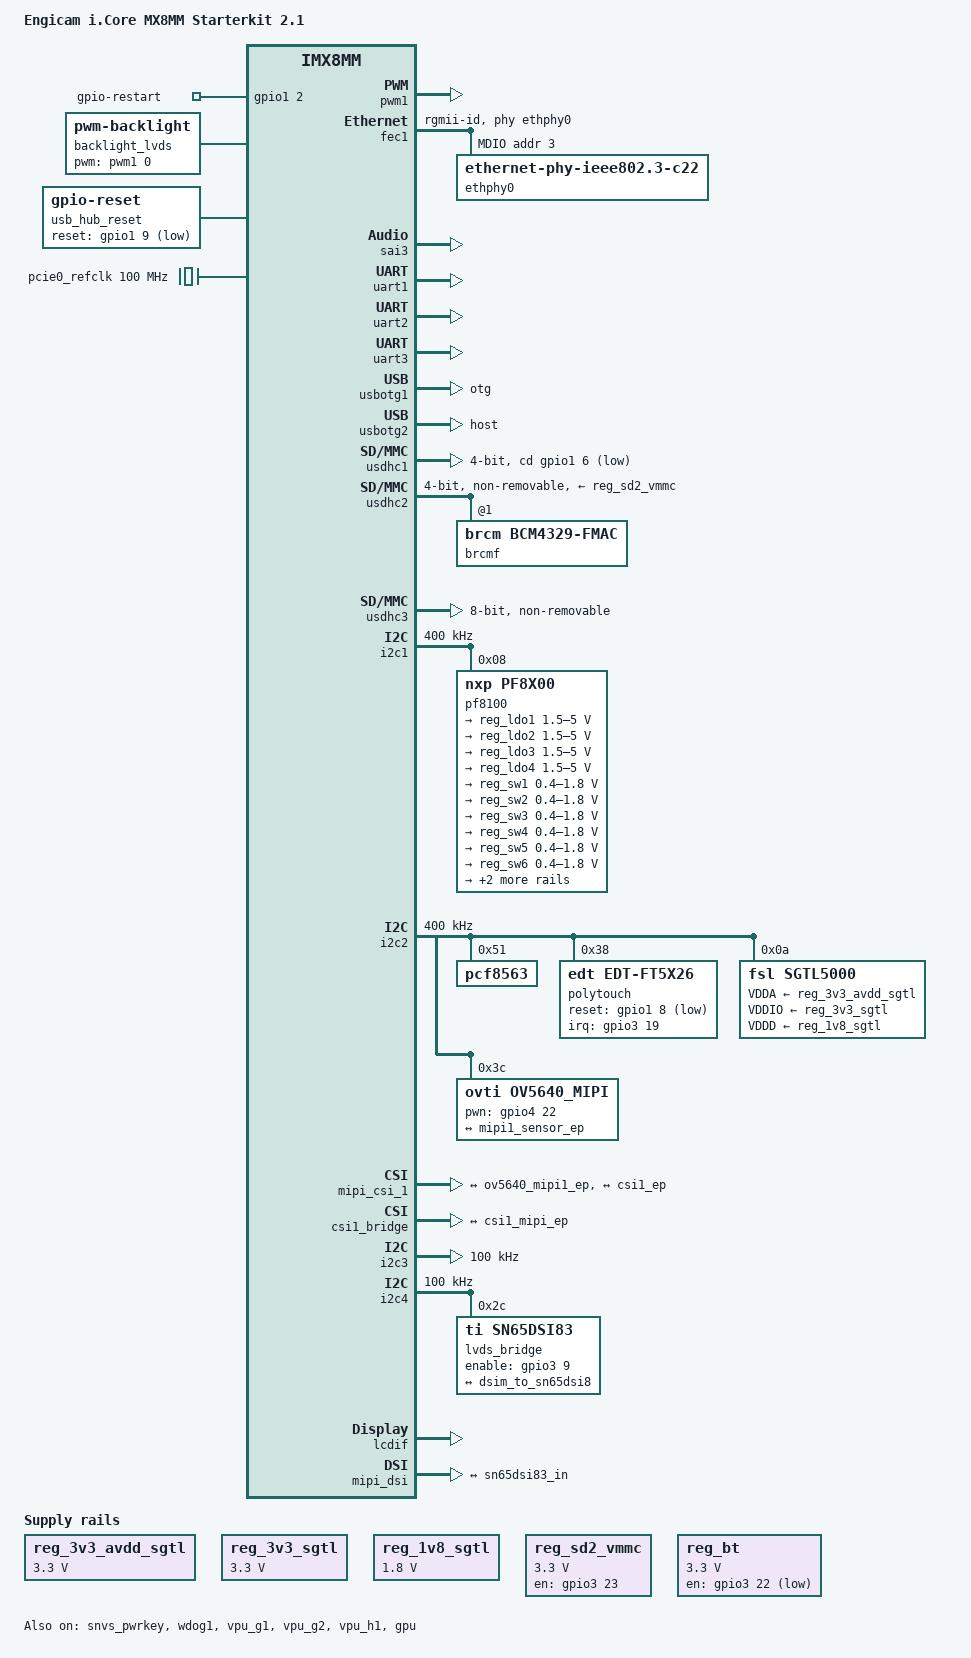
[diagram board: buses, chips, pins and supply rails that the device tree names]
// SPDX-License-Identifier: (GPL-2.0+ OR MIT)
/*
 * Copyright 2019 NXP
 */

/dts-v1/;

#include <dt-bindings/usb/pd.h>
#include "../freescale/imx8mm.dtsi"

/ {
	model = "Engicam i.Core MX8MM Starterkit 2.1";
	compatible = "engi,icore-imx8mm", "fsl,imx8mm-evk", "fsl,imx8mm";

	reserved-memory {
		#address-cells = <2>;
		#size-cells = <2>;
		ranges;

		rpmsg_reserved: rpmsg@0xb8000000 {
			no-map;
			reg = <0 0xb8000000 0 0x400000>;
		};
	};

	chosen {
		stdout-path = &uart2;
	};

	gpio-restart {
		compatible = "gpio-restart";
		gpios = <&gpio1 2 0>;
		priority = <128>;
		active-delay = <100>;
		inactive-delay = <100>;
		wait-delay = <3000>;
	};

	backlight_lvds: backlight_lvds {
		compatible = "pwm-backlight";
		pinctrl-names = "default";
		pinctrl-0 = <&pinctrl_pwm1>;
		pwms = <&pwm1 0 1000000>;
		brightness-levels = <0 4 8 16 32 64 128 255>;
		default-brightness-level = <7>;
		status = "okay";
	};

	usb_hub_reset: usb-hub-reset {
		compatible = "gpio-reset";
		reset-gpios = <&gpio1 9 GPIO_ACTIVE_LOW>;
		reset-delay-us = <2000>;
		reset-post-delay-ms = <40>;
		#reset-cells = <0>;
	};
	
	pcie0_refclk: pcie0-refclk {
		compatible = "fixed-clock";
		#clock-cells = <0>;
		clock-frequency = <100000000>;
	};	
	
	regulators {
		compatible = "simple-bus";
		#address-cells = <1>;
		#size-cells = <0>;

		reg_3v3_avdd_sgtl: reg_3v3_avdd_regulator {
			compatible = "regulator-fixed";
			regulator-name = "3v3_avdd_sgtl";
			regulator-min-microvolt = <3300000>;
			regulator-max-microvolt = <3300000>;
			always-on;
		};

		reg_3v3_sgtl: reg_3v3_sgtl_regulator {
			compatible = "regulator-fixed";
			regulator-name = "3v3_sgtl";
			regulator-min-microvolt = <3300000>;
			regulator-max-microvolt = <3300000>;
			always-on;
		};

		reg_1v8_sgtl: reg_1v8_sgtl_regulator {
			compatible = "regulator-fixed";
			regulator-name = "1v8_sgtl";
			regulator-min-microvolt = <1800000>;
			regulator-max-microvolt = <1800000>;
			always-on;
		};

		reg_sd2_vmmc: sd2_regulator {
			compatible = "regulator-fixed";
			regulator-name = "WLAN_EN";
			regulator-min-microvolt = <3300000>;
			regulator-max-microvolt = <3300000>;
			gpio = <&gpio3 23 1>;
			startup-delay-us = <100>;
			enable-active-high;
		};
		
		reg_bt: bt_regulator {
			compatible = "regulator-fixed";
			regulator-name = "BT_EN";
			regulator-min-microvolt = <3300000>;
			regulator-max-microvolt = <3300000>;
			gpio = <&gpio3 22 1>;
			always-on;
		};
	};

	sound {
		compatible = "simple-audio-card";
		simple-audio-card,name = "imx8mm-sgtl5000";
		simple-audio-card,format = "i2s";
		simple-audio-card,bitclock-master = <&dailink_master>;
		simple-audio-card,frame-master = <&dailink_master>;
		/*simple-audio-card,mclk-fs = <1>;*/
		simple-audio-card,cpu {
			sound-dai = <&sai3>;
		}; 

		dailink_master: simple-audio-card,codec {
			sound-dai = <&sgtl5000>;
			clocks = <&clk IMX8MM_CLK_SAI3>;
		};
	};
};

&pwm1{
    status = "okay";
};

&A53_0 {
	cpu-supply = <&reg_sw4>;
};

&fec1 {
	pinctrl-names = "default";
	pinctrl-0 = <&pinctrl_fec1>;
	phy-mode = "rgmii-id";
	phy-handle = <&ethphy0>;
	fsl,magic-packet;
	status = "okay";

	mdio {
		#address-cells = <1>;
		#size-cells = <0>;

		ethphy0: ethernet-phy@0 {
			compatible = "ethernet-phy-ieee802.3-c22";
			reg = <3>;
			rxc-skew-ps = <3000>;
			rxdv-skew-ps = <0>;
			txc-skew-ps = <3000>;
			txen-skew-ps = <0>;
		};
	};
};

&pcie0{
	pinctrl-names = "default";
	pinctrl-0 = <&pinctrl_pcie0>;
	disable-gpio = <&gpio4 25 GPIO_ACTIVE_LOW>;
	reset-gpio = <&gpio3 24 GPIO_ACTIVE_LOW>;
	clocks = <&clk IMX8MM_CLK_PCIE1_ROOT>,
		<&clk IMX8MM_CLK_PCIE1_AUX>,
		<&clk IMX8MM_CLK_PCIE1_PHY>,
		<&pcie0_refclk>;
	clock-names = "pcie", "pcie_aux", "pcie_phy", "pcie_bus";
	ext_osc = <1>;
	reserved-region = <&rpmsg_reserved>;
	status = "disabled";
};

&sai3 {
	#sound-dai-cells = <0>;
	pinctrl-names = "default";
	pinctrl-0 = <&pinctrl_sai3>;
	assigned-clocks = <&clk IMX8MM_CLK_SAI3>;
	assigned-clock-parents = <&clk IMX8MM_AUDIO_PLL1_OUT>;
	assigned-clock-rates = <24576000>;
	status = "okay";
};

&sai1 {
	pinctrl-names = "default", "dsd";
	pinctrl-0 = <&pinctrl_sai1>;
	pinctrl-1 = <&pinctrl_sai1_dsd>;
	assigned-clocks = <&clk IMX8MM_CLK_SAI1>;
	assigned-clock-parents = <&clk IMX8MM_AUDIO_PLL1_OUT>;
	assigned-clock-rates = <49152000>;
	clocks = <&clk IMX8MM_CLK_SAI1_IPG>, <&clk IMX8MM_CLK_DUMMY>,
		<&clk IMX8MM_CLK_SAI1_ROOT>, <&clk IMX8MM_CLK_DUMMY>,
		<&clk IMX8MM_CLK_DUMMY>, <&clk IMX8MM_AUDIO_PLL1_OUT>,
		<&clk IMX8MM_AUDIO_PLL2_OUT>;
	clock-names = "bus", "mclk0", "mclk1", "mclk2", "mclk3", "pll8k", "pll11k";
	fsl,sai-multi-lane;
	fsl,dataline,dsd = <0 0xff 0xff 2 0xff 0x11>;
	dmas = <&sdma2 0 25 0>, <&sdma2 1 25 0>;
	status = "disabled";
};

&sai5 {
	pinctrl-names = "default";
	pinctrl-0 = <&pinctrl_sai5>;
	assigned-clocks = <&clk IMX8MM_CLK_SAI5>;
	assigned-clock-parents = <&clk IMX8MM_AUDIO_PLL1_OUT>;
	assigned-clock-rates = <49152000>;
	clocks = <&clk IMX8MM_CLK_SAI5_IPG>, <&clk IMX8MM_CLK_DUMMY>,
		<&clk IMX8MM_CLK_SAI5_ROOT>, <&clk IMX8MM_CLK_DUMMY>,
		<&clk IMX8MM_CLK_DUMMY>, <&clk IMX8MM_AUDIO_PLL1_OUT>,
		<&clk IMX8MM_AUDIO_PLL2_OUT>;
	clock-names = "bus", "mclk0", "mclk1", "mclk2", "mclk3", "pll8k", "pll11k";
	fsl,sai-asynchronous;
	status = "disabled";
};

&spdif1 {
	pinctrl-names = "default";
	pinctrl-0 = <&pinctrl_spdif1>;
	assigned-clocks = <&clk IMX8MM_CLK_SPDIF1>;
	assigned-clock-parents = <&clk IMX8MM_AUDIO_PLL1_OUT>;
	assigned-clock-rates = <24576000>;
	clocks = <&clk IMX8MM_CLK_AUDIO_AHB>, <&clk IMX8MM_CLK_24M>,
		<&clk IMX8MM_CLK_SPDIF1>, <&clk IMX8MM_CLK_DUMMY>,
		<&clk IMX8MM_CLK_DUMMY>, <&clk IMX8MM_CLK_DUMMY>,
		<&clk IMX8MM_CLK_AUDIO_AHB>, <&clk IMX8MM_CLK_DUMMY>,
		<&clk IMX8MM_CLK_DUMMY>, <&clk IMX8MM_CLK_DUMMY>,
		<&clk IMX8MM_AUDIO_PLL1_OUT>, <&clk IMX8MM_AUDIO_PLL2_OUT>;
	clock-names = "core", "rxtx0", "rxtx1", "rxtx2", "rxtx3",
		"rxtx4", "rxtx5", "rxtx6", "rxtx7", "spba", "pll8k", "pll11k";
	status = "disabled";
};

&snvs_pwrkey {
	status = "okay";
};

&uart1 { /* RS232 */
	pinctrl-names = "default";
	pinctrl-0 = <&pinctrl_uart1>;
	assigned-clocks = <&clk IMX8MM_CLK_UART1>;
	assigned-clock-parents = <&clk IMX8MM_SYS_PLL1_80M>;
	status = "okay";
};

&uart2 { /* console */
	pinctrl-names = "default";
	pinctrl-0 = <&pinctrl_uart2>;
	status = "okay";
};

&uart3 { /* RS485 */
	pinctrl-names = "default";
	pinctrl-0 = <&pinctrl_uart3>;
	assigned-clocks = <&clk IMX8MM_CLK_UART3>;
	assigned-clock-parents = <&clk IMX8MM_SYS_PLL1_80M>;
	uart-has-rtscts;
	status = "okay";
};

&usbotg1 {
	dr_mode = "otg";
	hnp-disable;
	srp-disable;
	adp-disable;
	usb-role-switch;
	status = "okay";
};

&usbotg2 {
	dr_mode = "host";
	hnp-disable;
	srp-disable;
	adp-disable;
	usb-role-switch;
	status = "okay";
};

&usdhc1 {
	pinctrl-names = "default";
	pinctrl-0 = <&pinctrl_usdhc1>, <&pinctrl_usdhc1_gpio>;
	cd-gpios = <&gpio1 6 GPIO_ACTIVE_LOW>;
	max-frequency = <50000000>;	
	bus-width = <4>;
	no-1-8-v;
	pm-ignore-notify;
	keep-power-in-suspend;
	status = "okay";
};

&usdhc2 {
	#address-cells = <1>;
	#size-cells = <0>;
	pinctrl-names = "default";
	pinctrl-0 = <&pinctrl_usdhc2>, <&pinctrl_laird>;
	bus-width = <4>;
	vmmc-supply = <&reg_sd2_vmmc>;
	pm-ignore-notify;
	keep-power-in-suspend;
	non-removable;
	status = "okay";
	enable-sdio-wakeup;

	brcmf: bcrmf@1 {
		reg = <1>;
		compatible = "brcm,bcm4329-fmac";
	};	
};

&usdhc3 {
	pinctrl-names = "default", "state_100mhz", "state_200mhz";
	pinctrl-0 = <&pinctrl_usdhc3>;
	pinctrl-1 = <&pinctrl_usdhc3_100mhz>;
	pinctrl-2 = <&pinctrl_usdhc3_200mhz>;
	bus-width = <8>;
	non-removable;
	status = "okay";
};

&wdog1 {
	status = "okay";
};

&i2c1 {
	clock-frequency = <400000>;
	pinctrl-names = "default";
	pinctrl-0 = <&pinctrl_i2c1>;
	status = "okay";

	pf8100@8 {
		compatible = "nxp,pf8x00";
		reg = <0x8>;

		regulators {
			reg_ldo1: ldo1 {
				regulator-always-on;
				regulator-boot-on;
				regulator-max-microvolt = <5000000>;
				regulator-min-microvolt = <1500000>;
			};

			reg_ldo2: ldo2 {
				regulator-always-on;
				regulator-boot-on;
				regulator-max-microvolt = <5000000>;
				regulator-min-microvolt = <1500000>;
			};

			reg_ldo3: ldo3 {
				regulator-always-on;
				regulator-boot-on;
				regulator-max-microvolt = <5000000>;
				regulator-min-microvolt = <1500000>;
			};

			reg_ldo4: ldo4 {
				regulator-always-on;
				regulator-boot-on;
				regulator-max-microvolt = <5000000>;
				regulator-min-microvolt = <1500000>;
			};

			reg_sw1: sw1 {
				phase = <0>;
				ilim-ma = <4500>;
				regulator-always-on;
				regulator-boot-on;
				regulator-max-microvolt = <1800000>;
				regulator-min-microvolt =  <400000>;
			};

			reg_sw2: sw2 {
				regulator-always-on;
				regulator-boot-on;
				regulator-max-microvolt = <1800000>;
				regulator-min-microvolt =  <400000>;
			};

			reg_sw3: sw3 {
				regulator-always-on;
				regulator-boot-on;
				regulator-max-microvolt = <1800000>;
				regulator-min-microvolt =  <400000>;
				fast-slew = <1>;
			};

			reg_sw4: sw4 {
				regulator-always-on;
				regulator-boot-on;
				regulator-max-microvolt = <1800000>;
				regulator-min-microvolt =  <400000>;
				dual-phase;
				fast-slew = <1>;
			};

			reg_sw5: sw5 {
				regulator-always-on;
				regulator-boot-on;
				regulator-max-microvolt = <1800000>;
				regulator-min-microvolt =  <400000>;
			};

			reg_sw6: sw6 {
				regulator-always-on;
				regulator-boot-on;
				regulator-max-microvolt = <1800000>;
				regulator-min-microvolt =  <400000>;
			};

			reg_sw7: sw7 {
				regulator-always-on;
				regulator-boot-on;
				regulator-max-microvolt = <3300000>;
				regulator-min-microvolt = <3300000>;
			};

			reg_vsnvs: vsnvs {
				regulator-always-on;
				regulator-boot-on;
				regulator-max-microvolt = <3300000>;
				regulator-min-microvolt = <1800000>;
			};
		};
	};
};

&i2c2 {
	clock-frequency = <400000>;
	pinctrl-names = "default";
	pinctrl-0 = <&pinctrl_i2c2>;
	status = "okay";

	pcf8563: rtc@51 {
		compatible = "pcf8563";
		reg = <0x51>;
	};

	polytouch: edt-ft5x26@38 {
		compatible = "edt,edt-ft5x26";
		reg = <0x38>;
		pinctrl-names = "default";
		pinctrl-0 = <&edt_ft5x06_pins>;
		interrupt-parent = <&gpio3>;
		interrupts = <19 IRQ_TYPE_EDGE_FALLING>;
		reset-gpios= <&gpio1 8 GPIO_ACTIVE_LOW>;
	};	

	sgtl5000: codec@a {
		compatible = "fsl,sgtl5000";
		status = "okay";
		#sound-dai-cells = <0>;
		reg = <0x0a>;
		clocks = <&clk IMX8MM_CLK_SAI3>;
		clock-names = "mclk";
		assigned-clock-rates = <24576000>, <24576000>;
		VDDA-supply = <&reg_3v3_avdd_sgtl>;
		VDDIO-supply = <&reg_3v3_sgtl>;
		VDDD-supply = <&reg_1v8_sgtl>;
	};
	
	ov5640_mipi: ov5640_mipi@3c {
		compatible = "ovti,ov5640_mipi";
		reg = <0x3c>;
		status = "okay";
		pinctrl-names = "default";
		pinctrl-0 = <&pinctrl_csi_pwn>, <&pinctrl_csi_rst>;
		clocks = <&clk IMX8MM_CLK_CLKO1>;
		clock-names = "csi_mclk";
		assigned-clocks = <&clk IMX8MM_CLK_CLKO1>;
		assigned-clock-parents = <&clk IMX8MM_CLK_24M>;
		assigned-clock-rates = <24000000>;
		csi_id = <0>;
		pwn-gpios = <&gpio4 22 GPIO_ACTIVE_HIGH>;
		mclk = <24000000>;
		mclk_source = <0>;
		port {
			ov5640_mipi1_ep: endpoint {
				remote-endpoint = <&mipi1_sensor_ep>;
			};
		};
	};	
};


&mipi_csi_1 {
	#address-cells = <1>;
	#size-cells = <0>;
	status = "okay";
	port {
		mipi1_sensor_ep: endpoint@1 {
			remote-endpoint = <&ov5640_mipi1_ep>;
			data-lanes = <2>;
			csis-hs-settle = <13>;
			csis-clk-settle = <2>;
			csis-wclk;
		};

		csi1_mipi_ep: endpoint@2 {
			remote-endpoint = <&csi1_ep>;
		};
	};
};

&csi1_bridge {
	fsl,mipi-mode;
	status = "okay";
	port {
		csi1_ep: endpoint {
			remote-endpoint = <&csi1_mipi_ep>;
		};
	};
};


&i2c3 {
	clock-frequency = <100000>;
	pinctrl-names = "default";
	pinctrl-0 = <&pinctrl_i2c3>;
	status = "okay";
};


&i2c4 {
	clock-frequency = <100000>;
	pinctrl-names = "default";
	pinctrl-0 = <&pinctrl_i2c4>;
	status = "okay";

	lvds_bridge: sn65dsi83@2c {
		compatible = "ti,sn65dsi83";
		reg = <0x2c>;
		ti,dsi-lanes = <2>;
		ti,lvds-format = <2>;
		ti,lvds-bpp = <24>;
		ti,width-mm = <149>;
		ti,height-mm = <93>;
		enable-gpios = <&gpio3 9  GPIO_ACTIVE_HIGH>;
		pinctrl-names = "default";
		pinctrl-0 = <&pinctrl_dsi_lvds_bridge>;
		status = "okay";

		display-timings {
			lvds {
			clock-frequency = <62500000>;
			hactive = <1024>;
			vactive = <600>;
			hback-porch = <60>;
			hfront-porch = <50>;
			vback-porch = <2>;
			vfront-porch = <3>;
			hsync-len = <20>;
			vsync-len = <1>;
			hsync-active = <0>;
			vsync-active = <0>;
			de-active = <1>;
			pixelclk-active = <0>;
			};
	};

	port {
		sn65dsi83_in: endpoint {
			remote-endpoint = <&dsim_to_sn65dsi8>;
			};
		};
	};
};


&iomuxc {

	pinctrl-names = "default";
	pinctrl-0 = <&pinctrl_hog>;

	icore-imx8mm {

		pinctrl_hog: hoggrp {
			fsl,pins = <
				MX8MM_IOMUXC_GPIO1_IO02_GPIO1_IO2	0x19
			>;
		};	
			
		pinctrl_csi_pwn: csi_pwn_grp {
			fsl,pins = <
				MX8MM_IOMUXC_SAI2_RXC_GPIO4_IO22		0x19
			>;
		};

		pinctrl_csi_rst: csi_rst_grp {
			fsl,pins = <
				MX8MM_IOMUXC_GPIO1_IO12_GPIO1_IO12		0x19
			>;
		};
		
		pinctrl_dsi_lvds_bridge: lvds_bridge_gpio {
			fsl,pins = <
				MX8MM_IOMUXC_NAND_DATA03_GPIO3_IO9	0x19
				MX8MM_IOMUXC_NAND_DATA02_GPIO3_IO8	0x19
			>;
		};

		pinctrl_pwm1: pwm1grp {
			fsl,pins = <
				MX8MM_IOMUXC_SPDIF_EXT_CLK_PWM1_OUT     0x19
			>;
		};

		pinctrl_laird: lairdgrp {
			fsl,pins = <
				MX8MM_IOMUXC_SAI5_RXD2_GPIO3_IO23        0x1C0
				MX8MM_IOMUXC_SAI5_RXD1_GPIO3_IO22        0x1C0
			>;
		};

		pinctrl_fec1: fec1grp {
			fsl,pins = <
				MX8MM_IOMUXC_ENET_MDC_ENET1_MDC			0x3
				MX8MM_IOMUXC_ENET_MDIO_ENET1_MDIO		0x3
				MX8MM_IOMUXC_ENET_TD3_ENET1_RGMII_TD3		0x1f
				MX8MM_IOMUXC_ENET_TD2_ENET1_RGMII_TD2		0x1f
				MX8MM_IOMUXC_ENET_TD1_ENET1_RGMII_TD1		0x1f
				MX8MM_IOMUXC_ENET_TD0_ENET1_RGMII_TD0		0x1f
				MX8MM_IOMUXC_ENET_RD3_ENET1_RGMII_RD3		0x91
				MX8MM_IOMUXC_ENET_RD2_ENET1_RGMII_RD2		0x91
				MX8MM_IOMUXC_ENET_RD1_ENET1_RGMII_RD1		0x91
				MX8MM_IOMUXC_ENET_RD0_ENET1_RGMII_RD0		0x91
				MX8MM_IOMUXC_ENET_TXC_ENET1_RGMII_TXC		0x1f
				MX8MM_IOMUXC_ENET_RXC_ENET1_RGMII_RXC		0x91
				MX8MM_IOMUXC_ENET_RX_CTL_ENET1_RGMII_RX_CTL	0x91
				MX8MM_IOMUXC_ENET_TX_CTL_ENET1_RGMII_TX_CTL	0x1f
			>;
		};

		pinctrl_i2c1: i2c1grp {
			fsl,pins = <
				MX8MM_IOMUXC_I2C1_SCL_I2C1_SCL			0x400001c3
				MX8MM_IOMUXC_I2C1_SDA_I2C1_SDA			0x400001c3
			>;
		};

		pinctrl_i2c2: i2c2grp {
			fsl,pins = <
				MX8MM_IOMUXC_I2C2_SCL_I2C2_SCL			0x400001c3
				MX8MM_IOMUXC_I2C2_SDA_I2C2_SDA			0x400001c3
			>;
		};

		pinctrl_i2c3: i2c3grp {
			fsl,pins = <
				MX8MM_IOMUXC_I2C3_SCL_I2C3_SCL			0x400001c3
				MX8MM_IOMUXC_I2C3_SDA_I2C3_SDA			0x400001c3
			>;
		};

		pinctrl_i2c4: i2c4grp {
			fsl,pins = <
				MX8MM_IOMUXC_I2C4_SCL_I2C4_SCL			0x400001c3
				MX8MM_IOMUXC_I2C4_SDA_I2C4_SDA			0x400001c3
			>;
		};

		pinctrl_mipi_dsi_en: mipi_dsi_en {
			fsl,pins = <
				MX8MM_IOMUXC_GPIO1_IO08_GPIO1_IO8		0x16
			>;
		};

		pinctrl_pcie0: pcie0grp {
			fsl,pins = <
				MX8MM_IOMUXC_SAI5_RXD3_GPIO3_IO24	0x41
				MX8MM_IOMUXC_SAI2_TXC_GPIO4_IO25	0x41
			>;
		};

		pinctrl_pmic: pmicirq {
			fsl,pins = <
				MX8MM_IOMUXC_GPIO1_IO03_GPIO1_IO3		0x41
			>;
		};

		pinctrl_sai3: sai3grp {
			fsl,pins = <
				MX8MM_IOMUXC_SAI3_TXFS_SAI3_TX_SYNC     0xd6
				MX8MM_IOMUXC_SAI3_TXC_SAI3_TX_BCLK      0xd6
				MX8MM_IOMUXC_SAI3_MCLK_SAI3_MCLK        0xd6
				MX8MM_IOMUXC_SAI3_TXD_SAI3_TX_DATA0     0xd6
				MX8MM_IOMUXC_SAI3_RXD_SAI3_RX_DATA0	0xd6
			>;
		};

		pinctrl_sai1: sai1grp {
			fsl,pins = <
				MX8MM_IOMUXC_SAI1_MCLK_SAI1_MCLK	0xd6
				MX8MM_IOMUXC_SAI1_TXFS_SAI1_TX_SYNC	0xd6
				MX8MM_IOMUXC_SAI1_RXD7_SAI1_TX_SYNC	0xd6
				MX8MM_IOMUXC_SAI1_TXC_SAI1_TX_BCLK	0xd6
				MX8MM_IOMUXC_SAI1_TXD0_SAI1_TX_DATA0	0xd6
				MX8MM_IOMUXC_SAI1_TXD1_SAI1_TX_DATA1	0xd6
				MX8MM_IOMUXC_SAI1_TXD2_SAI1_TX_DATA2	0xd6
				MX8MM_IOMUXC_SAI1_TXD3_SAI1_TX_DATA3	0xd6
				MX8MM_IOMUXC_SAI1_TXD4_SAI1_TX_DATA4	0xd6
				MX8MM_IOMUXC_SAI1_TXD5_SAI1_TX_DATA5	0xd6
				MX8MM_IOMUXC_SAI1_TXD6_SAI1_TX_DATA6	0xd6
				MX8MM_IOMUXC_SAI1_TXD7_SAI1_TX_DATA7	0xd6
			>;
		};

		pinctrl_sai1_dsd: sai1grp_dsd {
			fsl,pins = <
				MX8MM_IOMUXC_SAI1_MCLK_SAI1_MCLK	0xd6
				MX8MM_IOMUXC_SAI1_TXFS_SAI1_TX_SYNC	0xd6
				MX8MM_IOMUXC_SAI1_RXD7_SAI1_TX_DATA4	0xd6
				MX8MM_IOMUXC_SAI1_TXC_SAI1_TX_BCLK	0xd6
				MX8MM_IOMUXC_SAI1_TXD0_SAI1_TX_DATA0	0xd6
				MX8MM_IOMUXC_SAI1_TXD1_SAI1_TX_DATA1	0xd6
				MX8MM_IOMUXC_SAI1_TXD2_SAI1_TX_DATA2	0xd6
				MX8MM_IOMUXC_SAI1_TXD3_SAI1_TX_DATA3	0xd6
				MX8MM_IOMUXC_SAI1_TXD4_SAI1_TX_DATA4	0xd6
				MX8MM_IOMUXC_SAI1_TXD5_SAI1_TX_DATA5	0xd6
				MX8MM_IOMUXC_SAI1_TXD6_SAI1_TX_DATA6	0xd6
				MX8MM_IOMUXC_SAI1_TXD7_SAI1_TX_DATA7	0xd6
			>;
		};

		pinctrl_sai5: sai5grp {
			fsl,pins = <
				MX8MM_IOMUXC_SAI5_MCLK_SAI5_MCLK	0xd6
				MX8MM_IOMUXC_SAI5_RXC_SAI5_RX_BCLK	0xd6
				MX8MM_IOMUXC_SAI5_RXFS_SAI5_RX_SYNC	0xd6
				MX8MM_IOMUXC_SAI5_RXD0_SAI5_RX_DATA0	0xd6
				MX8MM_IOMUXC_SAI5_RXD1_SAI5_RX_DATA1    0xd6
				MX8MM_IOMUXC_SAI5_RXD2_SAI5_RX_DATA2    0xd6
				MX8MM_IOMUXC_SAI5_RXD3_SAI5_RX_DATA3    0xd6
			>;
		};

		pinctrl_pdm: pdmgrp {
			fsl,pins = <
				MX8MM_IOMUXC_SAI5_MCLK_SAI5_MCLK	0xd6
				MX8MM_IOMUXC_SAI5_RXC_PDM_CLK		0xd6
				MX8MM_IOMUXC_SAI5_RXFS_SAI5_RX_SYNC	0xd6
				MX8MM_IOMUXC_SAI5_RXD0_PDM_DATA0	0xd6
				MX8MM_IOMUXC_SAI5_RXD1_PDM_DATA1	0xd6
				MX8MM_IOMUXC_SAI5_RXD2_PDM_DATA2	0xd6
				MX8MM_IOMUXC_SAI5_RXD3_PDM_DATA3	0xd6
			>;
		};

		pinctrl_spdif1: spdif1grp {
			fsl,pins = <
				MX8MM_IOMUXC_SPDIF_TX_SPDIF1_OUT	0xd6
				MX8MM_IOMUXC_SPDIF_RX_SPDIF1_IN		0xd6
			>;
		};

		pinctrl_typec1: typec1grp {
			fsl,pins = <
				MX8MM_IOMUXC_SD1_STROBE_GPIO2_IO11	0x159
			>;
		};

		pinctrl_uart1: uart1grp {
			fsl,pins = <
				MX8MM_IOMUXC_UART1_RXD_UART1_DCE_RX	0x140
				MX8MM_IOMUXC_UART1_TXD_UART1_DCE_TX	0x140
			>;
		};

		pinctrl_uart2: uart2grp {
			fsl,pins = <
				MX8MM_IOMUXC_UART2_RXD_UART2_DCE_RX	0x140
				MX8MM_IOMUXC_UART2_TXD_UART2_DCE_TX	0x140
			>;
		};

		pinctrl_uart3: uart3grp {
			fsl,pins = <
				MX8MM_IOMUXC_UART3_RXD_UART3_DCE_RX		0x140
				MX8MM_IOMUXC_UART3_TXD_UART3_DCE_TX		0x140
				MX8MM_IOMUXC_ECSPI1_SS0_UART3_DCE_RTS_B		0x140
				MX8MM_IOMUXC_ECSPI1_MISO_UART3_DCE_CTS_B	0x140
			>;
		};

		pinctrl_usdhc1_gpio: usdhc1grpgpio {
			fsl,pins = <
				MX8MM_IOMUXC_GPIO1_IO06_GPIO1_IO6	0x41
			>;
		};

		pinctrl_usdhc1: usdhc1grp {
			fsl,pins = <
				MX8MM_IOMUXC_SD1_CLK_USDHC1_CLK		0x190
				MX8MM_IOMUXC_SD1_CMD_USDHC1_CMD		0x1d0
				MX8MM_IOMUXC_SD1_DATA0_USDHC1_DATA0	0x1d0
				MX8MM_IOMUXC_SD1_DATA1_USDHC1_DATA1	0x1d0
				MX8MM_IOMUXC_SD1_DATA2_USDHC1_DATA2	0x1d0
				MX8MM_IOMUXC_SD1_DATA3_USDHC1_DATA3	0x1d0
			>;
		};

		pinctrl_usdhc1_100mhz: usdhc1grp100mhz {
			fsl,pins = <
				MX8MM_IOMUXC_SD1_CLK_USDHC1_CLK		0x194
				MX8MM_IOMUXC_SD1_CMD_USDHC1_CMD		0x1d4
				MX8MM_IOMUXC_SD1_DATA0_USDHC1_DATA0	0x1d4
				MX8MM_IOMUXC_SD1_DATA1_USDHC1_DATA1	0x1d4
				MX8MM_IOMUXC_SD1_DATA2_USDHC1_DATA2	0x1d4
				MX8MM_IOMUXC_SD1_DATA3_USDHC1_DATA3	0x1d4
			>;
		};

		pinctrl_usdhc1_200mhz: usdhc1grp200mhz {
			fsl,pins = <
				MX8MM_IOMUXC_SD1_CLK_USDHC1_CLK		0x196
				MX8MM_IOMUXC_SD1_CMD_USDHC1_CMD		0x1d6
				MX8MM_IOMUXC_SD1_DATA0_USDHC1_DATA0	0x1d6
				MX8MM_IOMUXC_SD1_DATA1_USDHC1_DATA1	0x1d6
				MX8MM_IOMUXC_SD1_DATA2_USDHC1_DATA2	0x1d6
				MX8MM_IOMUXC_SD1_DATA3_USDHC1_DATA3	0x1d6
			>;
		};

		pinctrl_usdhc2: usdhc2grp {
			fsl,pins = <
				MX8MM_IOMUXC_SD2_CLK_USDHC2_CLK		0x190
				MX8MM_IOMUXC_SD2_CMD_USDHC2_CMD		0x1d0
				MX8MM_IOMUXC_SD2_DATA0_USDHC2_DATA0	0x1d0
				MX8MM_IOMUXC_SD2_DATA1_USDHC2_DATA1	0x1d0
				MX8MM_IOMUXC_SD2_DATA2_USDHC2_DATA2	0x1d0
				MX8MM_IOMUXC_SD2_DATA3_USDHC2_DATA3	0x1d0
			>;
		};

		pinctrl_usdhc2_100mhz: usdhc2grp100mhz {
			fsl,pins = <
				MX8MM_IOMUXC_SD2_CLK_USDHC2_CLK		0x194
				MX8MM_IOMUXC_SD2_CMD_USDHC2_CMD		0x1d4
				MX8MM_IOMUXC_SD2_DATA0_USDHC2_DATA0	0x1d4
				MX8MM_IOMUXC_SD2_DATA1_USDHC2_DATA1	0x1d4
				MX8MM_IOMUXC_SD2_DATA2_USDHC2_DATA2	0x1d4
				MX8MM_IOMUXC_SD2_DATA3_USDHC2_DATA3	0x1d4
			>;
		};

		pinctrl_usdhc2_200mhz: usdhc2grp200mhz {
			fsl,pins = <
				MX8MM_IOMUXC_SD2_CLK_USDHC2_CLK		0x196
				MX8MM_IOMUXC_SD2_CMD_USDHC2_CMD		0x1d6
				MX8MM_IOMUXC_SD2_DATA0_USDHC2_DATA0	0x1d6
				MX8MM_IOMUXC_SD2_DATA1_USDHC2_DATA1	0x1d6
				MX8MM_IOMUXC_SD2_DATA2_USDHC2_DATA2	0x1d6
				MX8MM_IOMUXC_SD2_DATA3_USDHC2_DATA3	0x1d6
			>;
		};

		pinctrl_usdhc3: usdhc3grp {
			fsl,pins = <
				MX8MM_IOMUXC_NAND_WE_B_USDHC3_CLK		0x190
				MX8MM_IOMUXC_NAND_WP_B_USDHC3_CMD		0x1d0
				MX8MM_IOMUXC_NAND_DATA04_USDHC3_DATA0		0x1d0
				MX8MM_IOMUXC_NAND_DATA05_USDHC3_DATA1		0x1d0
				MX8MM_IOMUXC_NAND_DATA06_USDHC3_DATA2		0x1d0
				MX8MM_IOMUXC_NAND_DATA07_USDHC3_DATA3		0x1d0
				MX8MM_IOMUXC_NAND_RE_B_USDHC3_DATA4		0x1d0
				MX8MM_IOMUXC_NAND_CE2_B_USDHC3_DATA5		0x1d0
				MX8MM_IOMUXC_NAND_CE3_B_USDHC3_DATA6		0x1d0
				MX8MM_IOMUXC_NAND_CLE_USDHC3_DATA7		0x1d0
				MX8MM_IOMUXC_NAND_CE1_B_USDHC3_STROBE 		0x190
			>;
		};

		pinctrl_usdhc3_100mhz: usdhc3grp100mhz {
			fsl,pins = <
				MX8MM_IOMUXC_NAND_WE_B_USDHC3_CLK		0x194
				MX8MM_IOMUXC_NAND_WP_B_USDHC3_CMD		0x1d4
				MX8MM_IOMUXC_NAND_DATA04_USDHC3_DATA0		0x1d4
				MX8MM_IOMUXC_NAND_DATA05_USDHC3_DATA1		0x1d4
				MX8MM_IOMUXC_NAND_DATA06_USDHC3_DATA2		0x1d4
				MX8MM_IOMUXC_NAND_DATA07_USDHC3_DATA3		0x1d4
				MX8MM_IOMUXC_NAND_RE_B_USDHC3_DATA4		0x1d4
				MX8MM_IOMUXC_NAND_CE2_B_USDHC3_DATA5		0x1d4
				MX8MM_IOMUXC_NAND_CE3_B_USDHC3_DATA6		0x1d4
				MX8MM_IOMUXC_NAND_CLE_USDHC3_DATA7		0x1d4
				MX8MM_IOMUXC_NAND_CE1_B_USDHC3_STROBE 		0x194
			>;
		};

		pinctrl_usdhc3_200mhz: usdhc3grp200mhz {
			fsl,pins = <
				MX8MM_IOMUXC_NAND_WE_B_USDHC3_CLK		0x196
				MX8MM_IOMUXC_NAND_WP_B_USDHC3_CMD		0x1d6
				MX8MM_IOMUXC_NAND_DATA04_USDHC3_DATA0		0x1d6
				MX8MM_IOMUXC_NAND_DATA05_USDHC3_DATA1		0x1d6
				MX8MM_IOMUXC_NAND_DATA06_USDHC3_DATA2		0x1d6
				MX8MM_IOMUXC_NAND_DATA07_USDHC3_DATA3		0x1d6
				MX8MM_IOMUXC_NAND_RE_B_USDHC3_DATA4		0x1d6
				MX8MM_IOMUXC_NAND_CE2_B_USDHC3_DATA5		0x1d6
				MX8MM_IOMUXC_NAND_CE3_B_USDHC3_DATA6		0x1d6
				MX8MM_IOMUXC_NAND_CLE_USDHC3_DATA7		0x1d6
				MX8MM_IOMUXC_NAND_CE1_B_USDHC3_STROBE 		0x196
			>;
		};
		
		edt_ft5x06_pins: edt-ft5x06-pins-grp{
			fsl,pins = <	
				MX8MM_IOMUXC_SAI5_RXFS_GPIO3_IO19		0xc6
				MX8MM_IOMUXC_GPIO1_IO08_GPIO1_IO8		0x19
			>;
		};
	};
};

&lcdif {
	max-res = <1280>, <800>;
	status = "okay";
};

&mipi_dsi {
	status = "okay";

	port@1 {
		dsim_to_sn65dsi8: endpoint {
			remote-endpoint = <&sn65dsi83_in>;
			attach-bridge;
		};
	};
};

&vpu_g1 {
	status = "okay";
};

&vpu_g2 {
	status = "okay";
};

&vpu_h1 {
	status = "okay";
};

&gpu {
	status = "okay";
};
